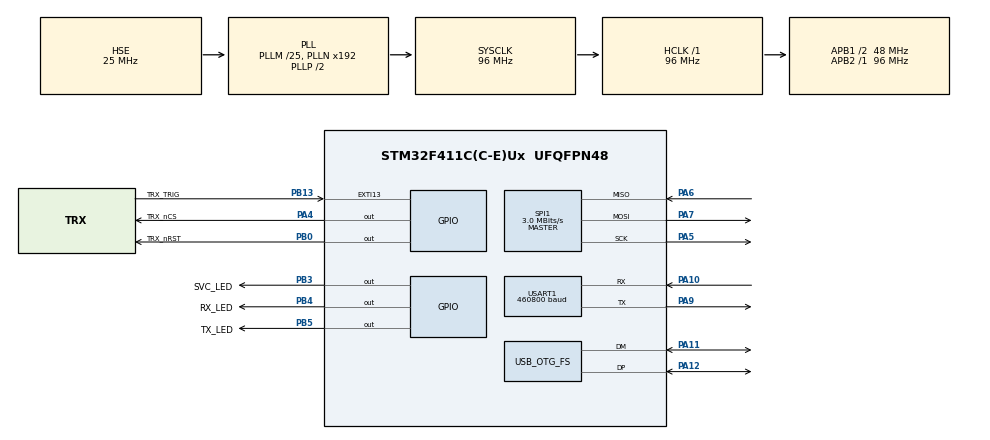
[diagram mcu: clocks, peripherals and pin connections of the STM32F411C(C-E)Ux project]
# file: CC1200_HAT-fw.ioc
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Mcu.Family=STM32F4
Mcu.Name=STM32F411C(C-E)Ux
Mcu.Package=UFQFPN48
NVIC.EXTI15_10_IRQn=true\:1\:0\:true\:false\:true\:true\:true\:true
NVIC.OTG_FS_IRQn=true\:0\:0\:false\:false\:true\:false\:true\:true
NVIC.PriorityGroup=NVIC_PRIORITYGROUP_4
NVIC.TIM1_TRG_COM_TIM11_IRQn=true\:2\:0\:true\:false\:true\:true\:true\:true
NVIC.TIM1_UP_TIM10_IRQn=true\:3\:0\:true\:false\:true\:true\:true\:true
NVIC.USART1_IRQn=true\:0\:0\:true\:false\:true\:true\:true\:true
PA10.Mode=Asynchronous
PA10.Signal=USART1_RX
PA11.Mode=Device_Only
PA11.Signal=USB_OTG_FS_DM
PA12.Mode=Device_Only
PA12.Signal=USB_OTG_FS_DP
PA13.Mode=Serial_Wire
PA13.Signal=SYS_JTMS-SWDIO
PA14.Mode=Serial_Wire
PA14.Signal=SYS_JTCK-SWCLK
PA4.GPIO_Label=TRX_nCS
PA4.GPIO_Speed=GPIO_SPEED_FREQ_VERY_HIGH
PA4.Signal=GPIO_Output
PA5.Mode=Full_Duplex_Master
PA5.Signal=SPI1_SCK
PA6.Mode=Full_Duplex_Master
PA6.Signal=SPI1_MISO
PA7.Mode=Full_Duplex_Master
PA7.Signal=SPI1_MOSI
PA9.Mode=Asynchronous
PA9.Signal=USART1_TX
PB0.GPIO_Label=TRX_nRST
PB0.GPIO_Speed=GPIO_SPEED_FREQ_VERY_HIGH
PB0.Signal=GPIO_Output
PB13.GPIO_Label=TRX_TRIG
PB13.Signal=GPXTI13
PB3.GPIO_Label=SVC_LED
PB3.GPIO_Speed=GPIO_SPEED_FREQ_VERY_HIGH
PB3.Signal=GPIO_Output
PB4.GPIO_Label=RX_LED
PB4.GPIO_Speed=GPIO_SPEED_FREQ_VERY_HIGH
PB4.Signal=GPIO_Output
PB5.GPIO_Label=TX_LED
PB5.GPIO_Speed=GPIO_SPEED_FREQ_VERY_HIGH
PB5.Signal=GPIO_Output
PH0\ -\ OSC_IN.Mode=HSE-External-Oscillator
PH0\ -\ OSC_IN.Signal=RCC_OSC_IN
PH1\ -\ OSC_OUT.Mode=HSE-External-Oscillator
PH1\ -\ OSC_OUT.Signal=RCC_OSC_OUT
ProjectManager.HeapSize=0x200
ProjectManager.StackSize=0x400
ProjectManager.TargetToolchain=STM32CubeIDE
RCC.48MHZClocksFreq_Value=48000000
RCC.AHBFreq_Value=96000000
RCC.APB1CLKDivider=RCC_HCLK_DIV2
RCC.APB1Freq_Value=48000000
RCC.APB1TimFreq_Value=96000000
RCC.APB2Freq_Value=96000000
RCC.APB2TimFreq_Value=96000000
RCC.CortexFreq_Value=96000000
RCC.HCLKFreq_Value=96000000
RCC.HSE_VALUE=25000000
RCC.HSI_VALUE=16000000
RCC.LSE_VALUE=32768
RCC.PLLM=25
RCC.SYSCLKFreq_VALUE=96000000
RCC.SYSCLKSource=RCC_SYSCLKSOURCE_PLLCLK
RCC.VCOOutputFreq_Value=192000000
SPI1.BaudRatePrescaler=SPI_BAUDRATEPRESCALER_32
SPI1.CalculateBaudRate=3.0 MBits/s
SPI1.Direction=SPI_DIRECTION_2LINES
SPI1.Mode=SPI_MODE_MASTER
SPI1.VirtualType=VM_MASTER
TIM10.Period=20-1
TIM10.Prescaler=9600-1
TIM11.Period=10-1
TIM11.Prescaler=400-1
USART1.BaudRate=460800
USART1.VirtualMode=VM_ASYNC
USB_DEVICE.CLASS_NAME_FS=CDC
USB_DEVICE.PRODUCT_STRING_CDC_FS=CC1200_Hat
USB_DEVICE.VirtualMode=Cdc
USB_DEVICE.VirtualModeFS=Cdc_FS
USB_OTG_FS.VirtualMode=Device_Only
VP_TIM10_VS_ClockSourceINT.Mode=Enable_Timer
VP_TIM11_VS_ClockSourceINT.Mode=Enable_Timer
VP_USB_DEVICE_VS_USB_DEVICE_CDC_FS.Mode=CDC_FS
board=custom

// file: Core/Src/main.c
/* USER CODE BEGIN Header */
/**
  ******************************************************************************
  * @file           : main.c
  * @brief          : Main program body
  ******************************************************************************
  * @attention
  *
  * Copyright (c) 2024 STMicroelectronics.
  * All rights reserved.
  *
  * This software is licensed under terms that can be found in the LICENSE file
  * in the root directory of this software component.
  * If no LICENSE file comes with this software, it is provided AS-IS.
  *
  ******************************************************************************
  */
/* USER CODE END Header */
#include "main.h"
#include "usb_device.h"

/* USER CODE BEGIN Includes */
#include <math.h>
#include <string.h>
#include <stdio.h>
#include <stdarg.h>
#include "interface_cmds.h"
#include "usbd_cdc_if.h"
/* USER CODE END Includes */

/* USER CODE BEGIN PD */
#define IDENT_STR		"CC1200-HAT 420-450 MHz\nFW v1.0.0 by Wojciech SP5WWP"
#define CC1200_REG_NUM	51						//number of regs used to initialize CC1200s
#define BSB_BUFLEN		4800					//tx/rx buffer size in samples (200ms at fs=24kHz)
#define BSB_RUNUP		2880					//120ms worth of baseband data (at 24kHz)

//#define USE_USART								//uncomment to use USART on RPi header
#define USE_USB									//uncomment to use USB-C connnector
/* USER CODE END PD */

/* USER CODE BEGIN PM */
#define FIX_TIMER_TRIGGER(handle_ptr) (__HAL_TIM_CLEAR_FLAG(handle_ptr, TIM_SR_UIF))
/* USER CODE END PM */

SPI_HandleTypeDef hspi1;

TIM_HandleTypeDef htim10;
TIM_HandleTypeDef htim11;

UART_HandleTypeDef huart1;

/* USER CODE BEGIN PV */
#include "enums.h"

uint32_t dev_err=(uint32_t)ERR_OK;	//default state - no error

struct trx_data_t
{
	uint8_t name[20];		//chip's name (CC1200, CC1201, unknown ID)
	uint32_t rx_frequency;	//frequency in hertz
	uint32_t tx_frequency;	//frequency in hertz
	uint8_t pwr;			//power setting (3..63)
	int16_t fcorr;			//frequency correction
	uint8_t pll_locked;		//PLL locked flag
}trx_data;

//PA
float tx_dbm=0.0f;											//RF power setpoint, dBm

//buffers and interface stuff
volatile uint8_t rxb[100]={0};								//rx buffer for interface data
volatile uint8_t rx_bc=0;									//UART1 rx byte counter
int8_t tx_bsb_buff[BSB_BUFLEN]={0};							//buffer for transmission
uint32_t tx_bsb_total_cnt=0;								//how many samples were received
uint32_t tx_bsb_cnt=0;										//how many samples were transmitted
int8_t tx_bsb_sample=0;										//current tx sample
int8_t rx_bsb_sample=0;										//current rx sample

enum trx_state_t trx_state=TRX_IDLE;						//transmitter state
volatile uint8_t bsb_tx_pend=0;								//do we need to transmit another baseband sample?
volatile uint8_t bsb_rx_pend=0;								//do we need to read another baseband sample?
volatile enum interface_comm_t interface_comm=COMM_IDLE;	//interface comm status
/* USER CODE END PV */

void SystemClock_Config(void);
static void MX_GPIO_Init(void);
static void MX_SPI1_Init(void);
static void MX_USART1_UART_Init(void);
static void MX_TIM10_Init(void);
static void MX_TIM11_Init(void);

/* USER CODE BEGIN 0 */
void set_nRST(uint8_t state)
{
	if(state)
		TRX_nRST_GPIO_Port->BSRR=(uint32_t)TRX_nRST_Pin;
	else
		TRX_nRST_GPIO_Port->BSRR=(uint32_t)TRX_nRST_Pin<<16;
}

void set_CS(uint8_t state)
{
	if(state)
		TRX_nCS_GPIO_Port->BSRR=(uint32_t)TRX_nCS_Pin;
	else
		TRX_nCS_GPIO_Port->BSRR=(uint32_t)TRX_nCS_Pin<<16;
}

uint8_t trx_readreg(uint16_t addr)
{
	uint8_t txd[3]={0, 0, 0};
	uint8_t rxd[3]={0, 0, 0};

	set_CS(0);
	if((addr>>8)==0)
	{
		txd[0]=(addr&0xFF)|0x80;
		txd[1]=0;
		HAL_SPI_TransmitReceive(&hspi1, txd, rxd, 2, 10);
		set_CS(1);
		return rxd[1];
	}
	else
	{
		txd[0]=((addr>>8)&0xFF)|0x80;
		txd[1]=addr&0xFF;
		txd[2]=0;
		HAL_SPI_TransmitReceive(&hspi1, txd, rxd, 3, 10);
		set_CS(1);
		return rxd[2];
	}
}

void trx_writereg(uint16_t addr, uint8_t val)
{
	uint8_t txd[3]={addr>>8, addr&0xFF, val};

	set_CS(0);
	if((addr>>8)==0)
	{
		txd[0]=addr&0xFF;
		txd[1]=val;
		HAL_SPI_Transmit(&hspi1, txd, 2, 10);
	}
	else
	{
		txd[0]=(addr>>8)&0xFF;
		txd[1]=addr&0xFF;
		txd[2]=val;
		HAL_SPI_Transmit(&hspi1, txd, 3, 10);
	}
	set_CS(1);
}

void trx_writecmd(uint8_t addr)
{
	uint8_t txd=addr;

	set_CS(0);
	HAL_SPI_Transmit(&hspi1, &txd, 1, 10);
	set_CS(1);
}

uint8_t read_pn(void)
{
	return trx_readreg(0x2F8F);
}

uint8_t read_status(void)
{
	uint8_t txd=STR_SNOP; //no operation strobe
	uint8_t rxd=0;

	set_CS(0);
	HAL_SPI_TransmitReceive(&hspi1, &txd, &rxd, 1, 10);
	set_CS(1);

	return rxd;
}

void detect_ic(uint8_t* out)
{
	uint8_t trxid=read_pn();

	if(trxid==0x20)
		sprintf((char*)out, "CC1200");
	else if(trxid==0x21)
		sprintf((char*)out, "CC1201");
	else
		sprintf((char*)out, "unknown ID (0x%02X)", trxid);
}

void config_ic(uint8_t* settings)
{
	for(uint8_t i=0; i<CC1200_REG_NUM; i++)
	{
		set_CS(0);
		if(settings[i*3])
			HAL_SPI_Transmit(&hspi1, &settings[i*3], 3, 10);
		else
			HAL_SPI_Transmit(&hspi1, &settings[i*3+1], 2, 10);
		set_CS(1);
		//HAL_Delay(10);
	}
}

void config_rf(enum mode_t mode, struct trx_data_t trx_data)
{
	static uint8_t cc1200_rx_settings[CC1200_REG_NUM*3] =
	{
		0x00, 0x01, 0x08,
		0x00, 0x03, 0x09,
		0x00, 0x08, 0x1F,
		0x00, 0x0A, 0x9F, //deviation - about 3kHz full scale
		0x00, 0x0B, 0x00, //deviation
		0x00, 0x0C, 0x5D,
		0x00, 0x0D, 0x00,
		0x00, 0x0E, 0x8A,
		0x00, 0x0F, 0xCB,
		0x00, 0x10, 0xAC, //RX filter BW - 9.5kHz
		0x00, 0x11, 0x00,
		0x00, 0x12, 0x45,
		0x00, 0x13, 0x43, //symbol rate 2 - 1.5k sym/s
		0x00, 0x14, 0xA9, //symbol rate 1
		0x00, 0x15, 0x2A, //symbol rate 0
		0x00, 0x16, 0x37, //AGC_REF - AGC Reference Level Configuration
		0x00, 0x17, 0xEC,
		0x00, 0x19, 0x11,
		0x00, 0x1B, 0x51,
		0x00, 0x1C, 0x87,
		0x00, 0x1D, 0x00,
		0x00, 0x20, 0x14,
		0x00, 0x26, 0x03,
		0x00, 0x27, 0x00,
		0x00, 0x28, 0x20,
		0x00, 0x2B, 0x03, //output power - 0x03..0x3F (doesn't matter for RX)
		0x00, 0x2E, 0xFF,
		0x2F, 0x00, 0x1C,
		0x2F, 0x01, 0x02, //AFC, 0x22 - on, 0x02 - off
		0x2F, 0x04, 0x0C, //external oscillator's frequency is 40 MHz
		0x2F, 0x05, 0x09, //16x upsampler, CFM enable
		0x2F, 0x0C, 0x57, //frequency - round((float)435000000/5000000*(1<<16))=0x570000
		0x2F, 0x0D, 0x00, //frequency
		0x2F, 0x0E, 0x00, //frequency
		0x2F, 0x10, 0xEE,
		0x2F, 0x11, 0x10,
		0x2F, 0x12, 0x07,
		0x2F, 0x13, 0xAF,
		0x2F, 0x16, 0x40,
		0x2F, 0x17, 0x0E,
		0x2F, 0x19, 0x03,
		0x2F, 0x1B, 0x33,
		0x2F, 0x1D, 0x17,
		0x2F, 0x1F, 0x00,
		0x2F, 0x20, 0x6E,
		0x2F, 0x21, 0x1C,
		0x2F, 0x22, 0xAC,
		0x2F, 0x27, 0xB5,
		0x2F, 0x32, 0x0E,
		0x2F, 0x36, 0x03,
		0x2F, 0x91, 0x08
	};

	static uint8_t cc1200_tx_settings[CC1200_REG_NUM*3] =
	{
		0x00, 0x01, 0x08,
		0x00, 0x03, 0x09,
		0x00, 0x08, 0x1F,
		0x00, 0x0A, 0x06, //deviation - 5kHz full scale
		0x00, 0x0B, 0x01, //deviation
		0x00, 0x0C, 0x5D,
		0x00, 0x0D, 0x00,
		0x00, 0x0E, 0x8A,
		0x00, 0x0F, 0xCB,
		0x00, 0x10, 0xAC, //RX filter BW - 9.5kHz (doesn't matter for TX)
		0x00, 0x11, 0x00,
		0x00, 0x12, 0x45,
		0x00, 0x13, 0x43, //symbol rate 2 - 1.5k symb/s
		0x00, 0x14, 0xA9, //symbol rate 1
		0x00, 0x15, 0x2A, //symbol rate 0
		0x00, 0x16, 0x37,
		0x00, 0x17, 0xEC,
		0x00, 0x19, 0x11,
		0x00, 0x1B, 0x51,
		0x00, 0x1C, 0x87,
		0x00, 0x1D, 0x00,
		0x00, 0x20, 0x14,
		0x00, 0x26, 0x03,
		0x00, 0x27, 0x00,
		0x00, 0x28, 0x20,
		0x00, 0x2B, 0x03, //output power - 0x03..0x3F
		0x00, 0x2E, 0xFF,
		0x2F, 0x00, 0x1C,
		0x2F, 0x01, 0x22,
		0x2F, 0x04, 0x0C, //external oscillator's frequency is 40 MHz
		0x2F, 0x05, 0x09, //16x upsampler, CFM enable
		0x2F, 0x0C, 0x57, //frequency - round((float)435000000/5000000*(1<<16))=0x570000
		0x2F, 0x0D, 0x00, //frequency
		0x2F, 0x0E, 0x00, //frequency
		0x2F, 0x10, 0xEE,
		0x2F, 0x11, 0x10,
		0x2F, 0x12, 0x07,
		0x2F, 0x13, 0xAF,
		0x2F, 0x16, 0x40,
		0x2F, 0x17, 0x0E,
		0x2F, 0x19, 0x03,
		0x2F, 0x1B, 0x33,
		0x2F, 0x1D, 0x17,
		0x2F, 0x1F, 0x00,
		0x2F, 0x20, 0x6E,
		0x2F, 0x21, 0x1C,
		0x2F, 0x22, 0xAC,
		0x2F, 0x27, 0xB5,
		0x2F, 0x32, 0x0E,
		0x2F, 0x36, 0x03,
		0x2F, 0x91, 0x08
	};

	uint32_t freq_word;
	if(mode==MODE_RX)
		freq_word=roundf((float)trx_data.rx_frequency/5000000.0*((uint32_t)1<<16));
	else
		freq_word=roundf((float)trx_data.tx_frequency/5000000.0*((uint32_t)1<<16));

	if(mode==MODE_RX)
	{
		cc1200_rx_settings[32*3-1]=(freq_word>>16)&0xFF;
		cc1200_rx_settings[33*3-1]=(freq_word>>8)&0xFF;
		cc1200_rx_settings[34*3-1]=freq_word&0xFF;
		config_ic(cc1200_rx_settings);
		trx_writereg(0x0001, 29);		//IOCFG2, GPIO2 - CLKEN_CFM
	}
	else if(mode==MODE_TX)
	{
		uint8_t tx_pwr=trx_data.pwr;
		if(tx_pwr>0x3F) tx_pwr=0x3F;
		if(tx_pwr<0x03) tx_pwr=0x03;
		cc1200_tx_settings[26*3-1]=tx_pwr;
		cc1200_tx_settings[32*3-1]=(freq_word>>16)&0xFF;
		cc1200_tx_settings[33*3-1]=(freq_word>>8)&0xFF;
		cc1200_tx_settings[34*3-1]=freq_word&0xFF;
		config_ic(cc1200_tx_settings);
		trx_writereg(0x0001, 30);		//IOCFG2, GPIO2 - CFM_TX_DATA_CLK
	}

	//frequency correction
	trx_writereg(0x2F0A, (uint16_t)trx_data.fcorr>>8);
	trx_writereg(0x2F0B, (uint16_t)trx_data.fcorr&0xFF);
	//disable address autoincrement in burst mode (default - enabled)
	trx_writereg(0x2F06, 0);
}

void interface_resp(enum cmd_t cmd, uint8_t resp)
{
	uint8_t tmp[3]={cmd, 3, resp};
#ifdef USE_USART
		HAL_UART_Transmit_IT(&huart1, tmp, 3);
#endif
#ifdef USE_USB
		CDC_Transmit_FS(tmp, 3);
#endif
}

//interrupts
void HAL_TIM_PeriodElapsedCallback(TIM_HandleTypeDef *htim)
{
	TIM_TypeDef* tim = htim->Instance;

	//USART1 timeout timer
	if(tim==TIM10)
	{
		HAL_TIM_Base_Stop_IT(&htim10);

		if(interface_comm==COMM_IDLE)
		{
			interface_comm=COMM_TOT; //set the TOT flag
		}
	}

	//24kHz baseband timer - workaround
	else if(tim==TIM11)
	{
		bsb_rx_pend=1;
	}
}

void HAL_GPIO_EXTI_Callback(uint16_t GPIO_Pin)
{
	if(GPIO_Pin==TRX_TRIG_Pin)
	{
		bsb_tx_pend=1;
	}
}

void HAL_UART_RxCpltCallback(UART_HandleTypeDef *huart)
{
	USART_TypeDef* iface = huart->Instance;

	if(iface==USART1)
	{
		if(trx_state!=TRX_TX) //normal comms if we are not transmitting at the moment
		{
			//check frame's validity
			if(rxb[1]==rx_bc+1)
			{
				HAL_TIM_Base_Stop_IT(&htim10);
				rx_bc=0;
				interface_comm=COMM_RDY;
				return;
			}

			//handle normal comm conditions and overflow
			if(rx_bc<sizeof(rxb)) //all normal - proceed
			{
				rx_bc++;
				HAL_UART_Receive_IT(&huart1, (uint8_t*)&rxb[rx_bc], 1);
				//reset timeout timer
				TIM10->CNT=0;
				FIX_TIMER_TRIGGER(&htim10);
				HAL_TIM_Base_Start_IT(&htim10);
			}
			else //overflow
			{
				interface_comm=COMM_OVF; //set overflow flag, shouldn't normally happen
			}
		}
		else //pass baseband samples to the buffer
		{
			HAL_UART_Receive_IT(&huart1, (uint8_t*)rxb, 1);
			tx_bsb_buff[(BSB_RUNUP+tx_bsb_total_cnt)%BSB_BUFLEN]=rxb[0];
			tx_bsb_total_cnt++;
		}
	}
}
/* USER CODE END 0 */

int main(void)
{

  /* MCU Configuration--------------------------------------------------------*/

  /* Reset of all peripherals, Initializes the Flash interface and the Systick. */
  HAL_Init();

  /* Configure the system clock */
  SystemClock_Config();

  /* Initialize all configured peripherals */
  MX_GPIO_Init();
  MX_SPI1_Init();
  MX_USART1_UART_Init();
  MX_TIM10_Init();
  MX_TIM11_Init();
  MX_USB_DEVICE_Init();
  /* USER CODE BEGIN 2 */
  //enable FPU
  #if (__FPU_PRESENT == 1) && (__FPU_USED == 1)
  SCB->CPACR |= ((3UL << 10*2)|(3UL << 11*2));  /* set CP10 and CP11 Full Access */
  #endif

  set_nRST(1);
  HAL_Delay(50);
  set_CS(1);
  HAL_Delay(100);
  trx_writecmd(STR_SRES);
  HAL_Delay(50);
  detect_ic(trx_data.name);

  /*if(strstr((char*)trx_data.name, "CC1200")!=NULL)
  {
	  while(1)
	  {
		  HAL_GPIO_TogglePin(SVC_LED_GPIO_Port, SVC_LED_Pin);
		  HAL_Delay(100);
	  }
  }*/

  trx_data.rx_frequency=433475000;			//default
  trx_data.tx_frequency=433475000;			//default
  trx_data.fcorr=0;
  trx_data.pwr=3;							//3 to 63
  tx_dbm=10.00f;							//10dBm default
  config_rf(MODE_RX, trx_data);
  HAL_Delay(10);
  trx_writecmd(STR_SRX);
  HAL_Delay(50);

  trx_data.pll_locked = ((trx_readreg(0x2F8D)^0x80)&0x81)==0x81; //FSCAL_CTRL=1 and FSCAL_CTRL_NOT_USED=0

  if(!trx_data.pll_locked)
  {
	  dev_err|=(1UL<<ERR_TRX_PLL);
  }
  if(strstr((char*)trx_data.name, "unknown")!=NULL)
  {
  	  dev_err|=(1UL<<ERR_TRX_SPI);
  }

  //enable interface comms over UART1
  //memset((uint8_t*)rxb, 0, sizeof(rxb));
#ifdef USE_USART
  HAL_UART_Receive_IT(&huart1, (uint8_t*)rxb, 1);
#endif
#ifdef USE_USB
  /* char DataToSend[53];
  uint8_t MessageLength = 0;
  MessageLength = sprintf(DataToSend, "CC1200-HAT 420-450 MHz\nFW v1.0.0 by Wojciech SP5WWP\n");
  CDC_Transmit_FS((uint8_t*)DataToSend, MessageLength); */
  // TODO
#endif

  /* USER CODE END 2 */

  /* Infinite loop */
  /* USER CODE BEGIN WHILE */
  while(1)
  {
	  if(interface_comm==COMM_RDY) //if a valid interface frame is detected
	  {
#ifdef USE_USART
		  HAL_UART_AbortReceive_IT(&huart1);
		  HAL_UART_Receive_IT(&huart1, (uint8_t*)rxb, 1);
#endif
#ifdef USE_USB
		  //TODO
#endif
		  interface_comm=COMM_IDLE;

		  uint32_t freq;
		  uint8_t ident[128]={0};
		  uint8_t resp[10]; //response buffer

		  switch(rxb[0])
		  {
		  	  case CMD_PING:
		  		  resp[0]=CMD_PING;
		  		  resp[1]=6;
		  		  memcpy(&resp[2], (uint8_t*)&dev_err, sizeof(uint32_t));
#ifdef USE_USART
		  		  HAL_UART_Transmit_IT(&huart1, resp, 6); //error code, 0 for OK
#endif
#ifdef USE_USB
		  		  CDC_Transmit_FS(resp, 6);
#endif
		  	  break;

		  	  case CMD_SET_RX_FREQ:
		  		  memcpy((uint8_t*)&freq, (uint8_t*)&rxb[2], sizeof(uint32_t));
		  		  if(freq>=420e6 && freq<=440e6)
		  		  {
		  			  //reconfig RX
		  			  trx_data.rx_frequency=freq;
		  			  config_rf(MODE_RX, trx_data); //optimize this later
		  			  interface_resp(CMD_SET_RX_FREQ, 0); //OK
		  		  }
		  		  else
		  		  {
		  			  interface_resp(CMD_SET_RX_FREQ, 1); //ERR
		  		  }
		  	  break;

		  	  case CMD_SET_TX_FREQ:
		  		  memcpy((uint8_t*)&freq, (uint8_t*)&rxb[2], sizeof(uint32_t)); //no sanity checks
		  		  if(freq>=420e6 && freq<=440e6)
		  		  {
		  			  //reconfig TX
		  			  trx_data.tx_frequency=freq;
		  			  config_rf(MODE_TX, trx_data); //optimize this later
		  			  interface_resp(CMD_SET_TX_FREQ, 0); //OK
		  		  }
		  		  else
		  		  {
		  			  interface_resp(CMD_SET_TX_FREQ, 1); //ERR
		  		  }
			  break;

		  	  case CMD_SET_TX_POWER:
				  if(rxb[2]*0.25f>=-16.0f && rxb[2]*0.25f<=14.0) //-16 to 14 dBm (0x03 to 0x3F)
				  {
					  tx_dbm=rxb[2]*0.25f;
					  trx_data.pwr=floorf(((float)rxb[2]*0.25f+18.0f)*2.0f-1.0f);
					  interface_resp(CMD_SET_TX_POWER, 0); //OK
				  }
				  else
				  {
					  //no change, return error code
					  interface_resp(CMD_SET_TX_POWER, 1); //ERR
				  }
			  break;

		  	  case CMD_SET_FREQ_CORR:
		  		  trx_data.fcorr=*((int16_t*)&rxb[2]);
		  		  interface_resp(CMD_SET_TX_POWER, 0); //OK
			  break;

		  	  case CMD_SET_AFC:
		  		  if(rxb[2])
		  		  {
		  			  trx_writereg(0x2F01, 0x22);
		  		  }
		  		  else
		  		  {
		  			  trx_writereg(0x2F01, 0x02);
		  		  }
		  		  interface_resp(CMD_SET_AFC, 0); //OK
			  break;

		  	  case CMD_SET_TX_START:
		  		  if(trx_state!=TRX_TX && dev_err==ERR_OK)
		  		  {
		  			trx_state=TRX_TX;
		  			config_rf(MODE_TX, trx_data);
		  			HAL_Delay(10);
		  			trx_writecmd(STR_STX);

#ifdef USE_USART
		  			//stop UART timeout timer
		  			HAL_TIM_Base_Stop_IT(&htim10);
		  			HAL_UART_AbortReceive_IT(&huart1);
		  			HAL_UART_Receive_IT(&huart1, (uint8_t*)rxb, 1);
#endif
#ifdef USE_USB
		  			// TODO
#endif

		  			//fill the run-up
		  			memset((uint8_t*)tx_bsb_buff, 0, BSB_RUNUP);
		  			tx_bsb_total_cnt=BSB_RUNUP;

		  			//initiate baseband SPI transfer to the transmitter
		  			uint8_t header[2]={0x2F|0x40, 0x7E}; //CFM_TX_DATA_IN, burst access
		  			set_CS(0); //CS low
		  			HAL_SPI_Transmit(&hspi1, header, 2, 10); //send 2-byte header
		  			HAL_NVIC_EnableIRQ(EXTI15_10_IRQn); //enable external baseband sample trigger signal
		  			HAL_GPIO_WritePin(TX_LED_GPIO_Port, TX_LED_Pin, 1);
		  			HAL_GPIO_WritePin(RX_LED_GPIO_Port, RX_LED_Pin, 0);
		  		  }
		  		  else
		  		  {
		  			  interface_resp(CMD_SET_TX_START, dev_err);
		  		  }
			  break;

		  	  case CMD_SET_RX:
		  		  if(rxb[2]) //start
		  		  {
		  			  if(trx_state!=TRX_RX && dev_err==ERR_OK)
		  			  {
		  				  config_rf(MODE_RX, trx_data);
		  				  HAL_Delay(10);
		  				  trx_writecmd(STR_SRX);
		  				  trx_state=TRX_RX;
		  				  uint8_t header[2]={0x2F|0xC0, 0x7D}; //CFM_RX_DATA_OUT, burst access
		  				  set_CS(0); //CS low
		  				  HAL_SPI_Transmit(&hspi1, header, 2, 10); //send 2-byte header
		  				  //for some reason, the external signal runs at 75.7582kHz instead of expected 24kHz
		  				  FIX_TIMER_TRIGGER(&htim11);
		  				  TIM11->CNT=0;
		  				  HAL_TIM_Base_Start_IT(&htim11);
		  				  HAL_GPIO_WritePin(RX_LED_GPIO_Port, RX_LED_Pin, 1);
		  				  HAL_GPIO_WritePin(TX_LED_GPIO_Port, TX_LED_Pin, 0);
		  			  }
		  			  else
		  			  {
		  				  interface_resp(CMD_SET_RX, dev_err);
		  			  }
		  		  }
		  		  else //stop
		  		  {
		  			  //disable read baseband trigger signal
		  			  HAL_TIM_Base_Stop_IT(&htim11);
		  			  set_CS(1);
		  			  trx_state=TRX_IDLE;
		  			  HAL_GPIO_WritePin(RX_LED_GPIO_Port, RX_LED_Pin, 0);
		  			  interface_resp(CMD_SET_RX, 0); //OK
		  		  }
			  break;

		  	  case CMD_GET_IDENT:
				  //reply with RRU's IDENT string
				  sprintf((char*)&ident[2], IDENT_STR);
				  ident[0]=0x80; //a reply to "Get IDENT string" command
				  ident[1]=strlen((char*)IDENT_STR)+2; //total length
#ifdef USE_USART
				  HAL_UART_Transmit_IT(&huart1, ident, ident[1]);
#endif
#ifdef USE_USB
				  CDC_Transmit_FS(ident, ident[1]);
#endif
			  break;

		  	  case CMD_GET_CAPS:
				  //so far the CC1200-HAT can do FM only, half-duplex
				  interface_resp(CMD_GET_CAPS, 0x02);
			  break;

		  	  case CMD_GET_RX_FREQ:
		  		  resp[0]=CMD_GET_RX_FREQ;
		  		  resp[1]=sizeof(uint32_t)+2;
		  		  memcpy(&resp[2], (uint8_t*)&trx_data.rx_frequency, sizeof(uint32_t));
#ifdef USE_USART
		  		  HAL_UART_Transmit_IT(&huart1, resp, resp[1]);
#endif
#ifdef USE_USB
				  CDC_Transmit_FS(resp, resp[1]);
#endif
			  break;

		  	  case CMD_GET_TX_FREQ:
		  		  resp[0]=CMD_GET_TX_FREQ;
		  		  resp[1]=sizeof(uint32_t)+2;
		  		  memcpy(&resp[2], (uint8_t*)&trx_data.tx_frequency, sizeof(uint32_t));
#ifdef USE_USART
		  		  HAL_UART_Transmit_IT(&huart1, resp, resp[1]);
#endif
#ifdef USE_USB
				  CDC_Transmit_FS(resp, resp[1]);
#endif
			  break;

		  	  /*case 0x88:
		  		  resp[0]=trx_readreg(CHIP_RX, 0x0013);
		  		  resp[1]=trx_readreg(CHIP_RX, 0x0014);
		  		  resp[2]=trx_readreg(CHIP_RX, 0x0015);
		  		  HAL_UART_Transmit_IT(&huart1, resp, 3);
			  break;*/

		  	  default:
		  		  ;
		  	  break;
		  }
	  }
	  else if(interface_comm==COMM_TOT || interface_comm==COMM_OVF)
	  {
#ifdef USE_USART
		  HAL_TIM_Base_Stop_IT(&htim10);
		  HAL_UART_AbortReceive_IT(&huart1);
		  rx_bc=0;
		  HAL_UART_Receive_IT(&huart1, (uint8_t*)rxb, 1);
#endif
#ifdef USE_USB
		  // TODO
#endif
		  interface_comm=COMM_IDLE;
	  }

	  //TX
	  if(bsb_tx_pend==1)
	  {
		  //send baseband sample ASAP
		  HAL_SPI_Transmit(&hspi1, (uint8_t*)&tx_bsb_sample, 1, 2);

		  //fetch another sample
		  tx_bsb_sample=tx_bsb_buff[tx_bsb_cnt%BSB_BUFLEN];
		  tx_bsb_cnt++;

		  //nothing else to transmit
		  if(tx_bsb_cnt==tx_bsb_total_cnt)
		  {
			  HAL_NVIC_DisableIRQ(EXTI15_10_IRQn); //disable external baseband sample trigger signal
			  set_CS(1); //CS high
			  trx_state=TRX_IDLE;
			  config_rf(MODE_RX, trx_data);
			  HAL_Delay(10);
			  trx_writecmd(STR_SRX);
			  tx_bsb_cnt=0;
			  tx_bsb_total_cnt=0;
			  HAL_GPIO_WritePin(TX_LED_GPIO_Port, TX_LED_Pin, 0);
		  }

		  bsb_tx_pend=0;
	  }

	  //RX
	  if(bsb_rx_pend==1)
	  {
		  //fetch baseband sample
		  uint8_t tmp=0xFF; //whatever
		  HAL_SPI_TransmitReceive(&hspi1, &tmp, (uint8_t*)&rx_bsb_sample, 1, 2);
#ifdef USE_USART
		  HAL_UART_Transmit_IT(&huart1, (uint8_t*)&rx_bsb_sample, 1);
#endif
#ifdef USE_USB
		  CDC_Transmit_FS((uint8_t*)&rx_bsb_sample, 1);
#endif
		  bsb_rx_pend=0;
	  }
    /* USER CODE END WHILE */

  }
}

void SystemClock_Config(void)
{
  RCC_OscInitTypeDef RCC_OscInitStruct = {0};
  RCC_ClkInitTypeDef RCC_ClkInitStruct = {0};

  /** Configure the main internal regulator output voltage
  */
  __HAL_RCC_PWR_CLK_ENABLE();
  __HAL_PWR_VOLTAGESCALING_CONFIG(PWR_REGULATOR_VOLTAGE_SCALE1);

  /** Initializes the RCC Oscillators according to the specified parameters
  * in the RCC_OscInitTypeDef structure.
  */
  RCC_OscInitStruct.OscillatorType = RCC_OSCILLATORTYPE_HSE;
  RCC_OscInitStruct.HSEState = RCC_HSE_ON;
  RCC_OscInitStruct.PLL.PLLState = RCC_PLL_ON;
  RCC_OscInitStruct.PLL.PLLSource = RCC_PLLSOURCE_HSE;
  RCC_OscInitStruct.PLL.PLLM = 25;
  RCC_OscInitStruct.PLL.PLLN = 192;
  RCC_OscInitStruct.PLL.PLLP = RCC_PLLP_DIV2;
  RCC_OscInitStruct.PLL.PLLQ = 4;
  if (HAL_RCC_OscConfig(&RCC_OscInitStruct) != HAL_OK)
  {
    Error_Handler();
  }

  /** Initializes the CPU, AHB and APB buses clocks
  */
  RCC_ClkInitStruct.ClockType = RCC_CLOCKTYPE_HCLK|RCC_CLOCKTYPE_SYSCLK
                              |RCC_CLOCKTYPE_PCLK1|RCC_CLOCKTYPE_PCLK2;
  RCC_ClkInitStruct.SYSCLKSource = RCC_SYSCLKSOURCE_PLLCLK;
  RCC_ClkInitStruct.AHBCLKDivider = RCC_SYSCLK_DIV1;
  RCC_ClkInitStruct.APB1CLKDivider = RCC_HCLK_DIV2;
  RCC_ClkInitStruct.APB2CLKDivider = RCC_HCLK_DIV1;

  if (HAL_RCC_ClockConfig(&RCC_ClkInitStruct, FLASH_LATENCY_3) != HAL_OK)
  {
    Error_Handler();
  }
}

static void MX_SPI1_Init(void)
{

  /* SPI1 parameter configuration*/
  hspi1.Instance = SPI1;
  hspi1.Init.Mode = SPI_MODE_MASTER;
  hspi1.Init.Direction = SPI_DIRECTION_2LINES;
  hspi1.Init.DataSize = SPI_DATASIZE_8BIT;
  hspi1.Init.CLKPolarity = SPI_POLARITY_LOW;
  hspi1.Init.CLKPhase = SPI_PHASE_1EDGE;
  hspi1.Init.NSS = SPI_NSS_SOFT;
  hspi1.Init.BaudRatePrescaler = SPI_BAUDRATEPRESCALER_32;
  hspi1.Init.FirstBit = SPI_FIRSTBIT_MSB;
  hspi1.Init.TIMode = SPI_TIMODE_DISABLE;
  hspi1.Init.CRCCalculation = SPI_CRCCALCULATION_DISABLE;
  hspi1.Init.CRCPolynomial = 10;
  if (HAL_SPI_Init(&hspi1) != HAL_OK)
  {
    Error_Handler();
  }

}

static void MX_TIM10_Init(void)
{

  htim10.Instance = TIM10;
  htim10.Init.Prescaler = 9600-1;
  htim10.Init.CounterMode = TIM_COUNTERMODE_UP;
  htim10.Init.Period = 20-1;
  htim10.Init.ClockDivision = TIM_CLOCKDIVISION_DIV1;
  htim10.Init.AutoReloadPreload = TIM_AUTORELOAD_PRELOAD_DISABLE;
  if (HAL_TIM_Base_Init(&htim10) != HAL_OK)
  {
    Error_Handler();
  }

}

static void MX_TIM11_Init(void)
{

  htim11.Instance = TIM11;
  htim11.Init.Prescaler = 400-1;
  htim11.Init.CounterMode = TIM_COUNTERMODE_UP;
  htim11.Init.Period = 10-1;
  htim11.Init.ClockDivision = TIM_CLOCKDIVISION_DIV1;
  htim11.Init.AutoReloadPreload = TIM_AUTORELOAD_PRELOAD_DISABLE;
  if (HAL_TIM_Base_Init(&htim11) != HAL_OK)
  {
    Error_Handler();
  }

}

static void MX_USART1_UART_Init(void)
{

  huart1.Instance = USART1;
  huart1.Init.BaudRate = 460800;
  huart1.Init.WordLength = UART_WORDLENGTH_8B;
  huart1.Init.StopBits = UART_STOPBITS_1;
  huart1.Init.Parity = UART_PARITY_NONE;
  huart1.Init.Mode = UART_MODE_TX_RX;
  huart1.Init.HwFlowCtl = UART_HWCONTROL_NONE;
  huart1.Init.OverSampling = UART_OVERSAMPLING_16;
  if (HAL_UART_Init(&huart1) != HAL_OK)
  {
    Error_Handler();
  }

}

static void MX_GPIO_Init(void)
{
  GPIO_InitTypeDef GPIO_InitStruct = {0};

  /* GPIO Ports Clock Enable */
  __HAL_RCC_GPIOH_CLK_ENABLE();
  __HAL_RCC_GPIOA_CLK_ENABLE();
  __HAL_RCC_GPIOB_CLK_ENABLE();

  /*Configure GPIO pin Output Level */
  HAL_GPIO_WritePin(TRX_nCS_GPIO_Port, TRX_nCS_Pin, GPIO_PIN_RESET);

  /*Configure GPIO pin Output Level */
  HAL_GPIO_WritePin(GPIOB, TRX_nRST_Pin|SVC_LED_Pin|RX_LED_Pin|TX_LED_Pin, GPIO_PIN_RESET);

  /*Configure GPIO pin : TRX_nCS_Pin */
  GPIO_InitStruct.Pin = TRX_nCS_Pin;
  GPIO_InitStruct.Mode = GPIO_MODE_OUTPUT_PP;
  GPIO_InitStruct.Pull = GPIO_NOPULL;
  GPIO_InitStruct.Speed = GPIO_SPEED_FREQ_VERY_HIGH;
  HAL_GPIO_Init(TRX_nCS_GPIO_Port, &GPIO_InitStruct);

  /*Configure GPIO pins : TRX_nRST_Pin SVC_LED_Pin RX_LED_Pin TX_LED_Pin */
  GPIO_InitStruct.Pin = TRX_nRST_Pin|SVC_LED_Pin|RX_LED_Pin|TX_LED_Pin;
  GPIO_InitStruct.Mode = GPIO_MODE_OUTPUT_PP;
  GPIO_InitStruct.Pull = GPIO_NOPULL;
  GPIO_InitStruct.Speed = GPIO_SPEED_FREQ_VERY_HIGH;
  HAL_GPIO_Init(GPIOB, &GPIO_InitStruct);

  /*Configure GPIO pin : TRX_TRIG_Pin */
  GPIO_InitStruct.Pin = TRX_TRIG_Pin;
  GPIO_InitStruct.Mode = GPIO_MODE_IT_RISING;
  GPIO_InitStruct.Pull = GPIO_NOPULL;
  HAL_GPIO_Init(TRX_TRIG_GPIO_Port, &GPIO_InitStruct);

  /* EXTI interrupt init*/
  HAL_NVIC_SetPriority(EXTI15_10_IRQn, 1, 0);
  HAL_NVIC_EnableIRQ(EXTI15_10_IRQn);

/* USER CODE BEGIN MX_GPIO_Init_2 */
  HAL_NVIC_DisableIRQ(EXTI15_10_IRQn); //immediately disable it, as we don't need it right away
/* USER CODE END MX_GPIO_Init_2 */
}

void Error_Handler(void)
{
  __disable_irq();
  while (1)
  {
  }
}
